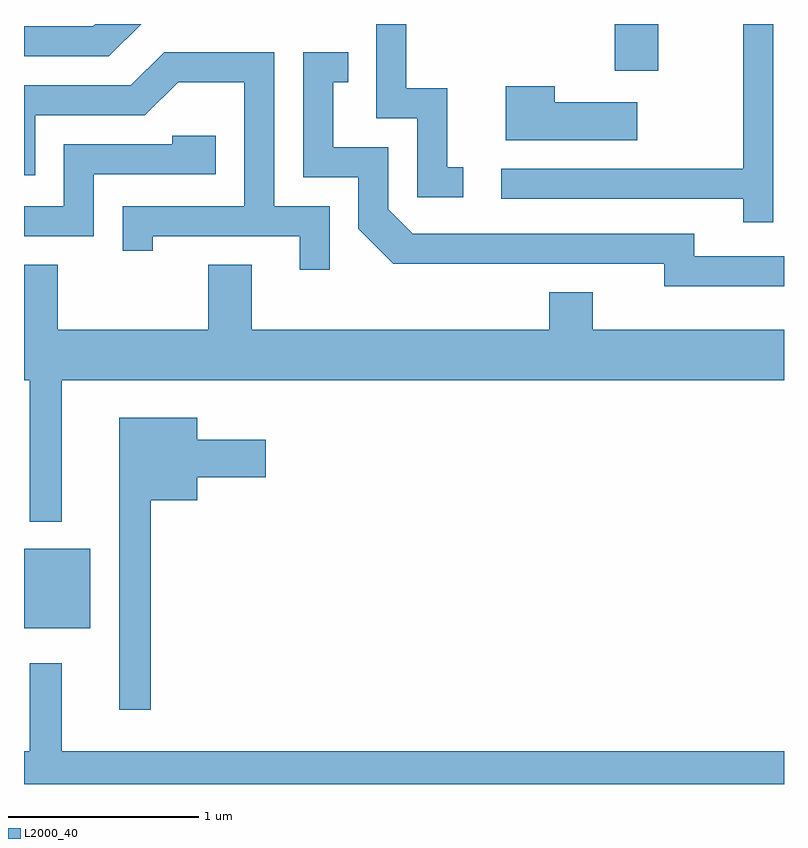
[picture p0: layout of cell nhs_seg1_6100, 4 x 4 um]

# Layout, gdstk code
import gdstk
lib = gdstk.Library(unit=1e-6, precision=1e-09)
def R(c, l, rs):  # rectangles x0, y0, x1, y1
    for r in rs: c.add(gdstk.rectangle(r[:2], r[2:], *l))
def P(c, l, *ps):  # polygons
    for p in ps: c.add(gdstk.Polygon(p, *l))
L2000_40 = (2000, 40)

nhs_seg1_6100 = lib.new_cell('nhs_seg1_6100')
R(nhs_seg1_6100, L2000_40, [(369.611,860.531,369.959,860.949), (372.721,863.466,372.949,863.712)])
P(nhs_seg1_6100, L2000_40, [(373.554,863.712),(373.396,863.712),(373.396,862.949),(372.123,862.949),(372.123,862.791),(373.396,862.791),(373.396,862.668),(373.554,862.668)],
  [(370.228,863.712),(369.987,863.712),(369.974,863.699),(369.611,863.699),(369.611,863.541),(370.057,863.541)],
  [(371.923,862.959),(371.839,862.959),(371.839,863.374),(371.624,863.374),(371.624,863.712),(371.466,863.712),(371.466,863.216),(371.681,863.216),(371.681,862.801),(371.923,862.801)],
  [(371.219,862.754),(370.929,862.754),(370.929,863.564),(370.349,863.564),(370.174,863.389),(369.611,863.389),(369.611,862.916),(369.669,862.916),(369.669,863.231),(370.247,863.231),(370.422,863.406),(370.771,863.406),(370.771,862.754),(370.131,862.754),(370.131,862.518),(370.289,862.518),(370.289,862.596),(371.061,862.596),(371.061,862.418),(371.219,862.418)],
  [(373.611,862.489),(373.139,862.489),(373.139,862.609),(371.657,862.609),(371.529,862.737),(371.529,863.064),(371.239,863.064),(371.239,863.406),(371.318,863.406),(371.318,863.564),(371.081,863.564),(371.081,862.906),(371.371,862.906),(371.371,862.634),(371.554,862.451),(372.981,862.451),(372.981,862.331),(373.611,862.331)],
  [(372.839,863.299),(372.404,863.299),(372.404,863.384),(372.146,863.384),(372.146,863.101),(372.839,863.101)],
  [(369.979,862.921),(370.619,862.921),(370.619,863.124),(370.391,863.124),(370.391,863.079),(369.821,863.079),(369.821,862.754),(369.611,862.754),(369.611,862.596),(369.979,862.596)],
  [(369.809,861.836),(373.611,861.836),(373.611,862.104),(372.604,862.104),(372.604,862.299),(372.376,862.299),(372.376,862.104),(370.809,862.104),(370.809,862.444),(370.581,862.444),(370.581,862.104),(369.789,862.104),(369.789,862.444),(369.611,862.444),(369.611,861.836),(369.641,861.836),(369.641,861.093),(369.809,861.093)],
  [(370.279,861.206),(370.524,861.206),(370.524,861.326),(370.884,861.326),(370.884,861.524),(370.524,861.524),(370.524,861.639),(370.111,861.639),(370.111,860.103),(370.279,860.103)],
  [(373.611,859.884),(369.809,859.884),(369.809,860.348),(369.641,860.348),(369.641,859.884),(369.611,859.884),(369.611,859.712),(373.611,859.712)])

lib.write_gds('nhs_seg1_6100.gds')
